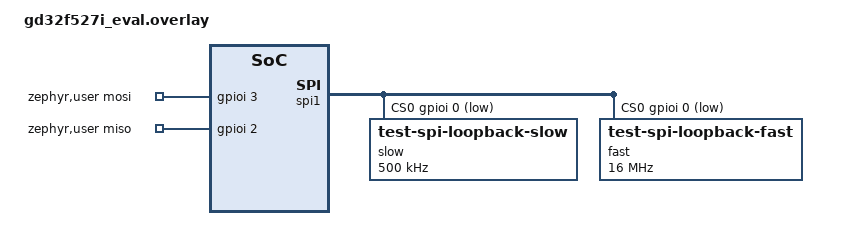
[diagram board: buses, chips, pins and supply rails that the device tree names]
/*
 * Copyright (c) 2026 GigaDevice Semiconductor Inc.
 *
 * SPDX-License-Identifier: Apache-2.0
 */

#include <zephyr/dt-bindings/dma/gd32_dma.h>

/ {
	zephyr,user {
		/* PI3 (MOSI) is shorted to PI2 (MISO) for the deinit test. */
		mosi-gpios = <&gpioi 3 GPIO_ACTIVE_HIGH>;
		miso-gpios = <&gpioi 2 GPIO_ACTIVE_HIGH>;
	};
};

&pinctrl {
	spi1_default: spi1_default {
		group1 {
			pinmux = <SPI1_SCK_PI1>, <SPI1_MOSI_PI3>,
				 <SPI1_MISO_PI2>;
			slew-rate = "max-speed-50mhz";
		};
	};
};

&spi1 {
	status = "okay";
	pinctrl-0 = <&spi1_default>;
	pinctrl-names = "default";
	cs-gpios = <&gpioi 0 GPIO_ACTIVE_LOW>;

	dmas = <&dma0 0 0 (GD32_DMA_PERIPH_RX | GD32_DMA_PRIORITY_HIGH) 0>,
	       <&dma0 3 0 (GD32_DMA_PERIPH_TX | GD32_DMA_PRIORITY_HIGH) 0>;
	dma-names = "rx", "tx";

	slow@0 {
		compatible = "test-spi-loopback-slow";
		reg = <0>;
		spi-max-frequency = <500000>;
	};

	fast@0 {
		compatible = "test-spi-loopback-fast";
		reg = <0>;
		spi-max-frequency = <16000000>;
	};
};

&gpioi {
	status = "okay";
};

&dma0 {
	status = "okay";
};
